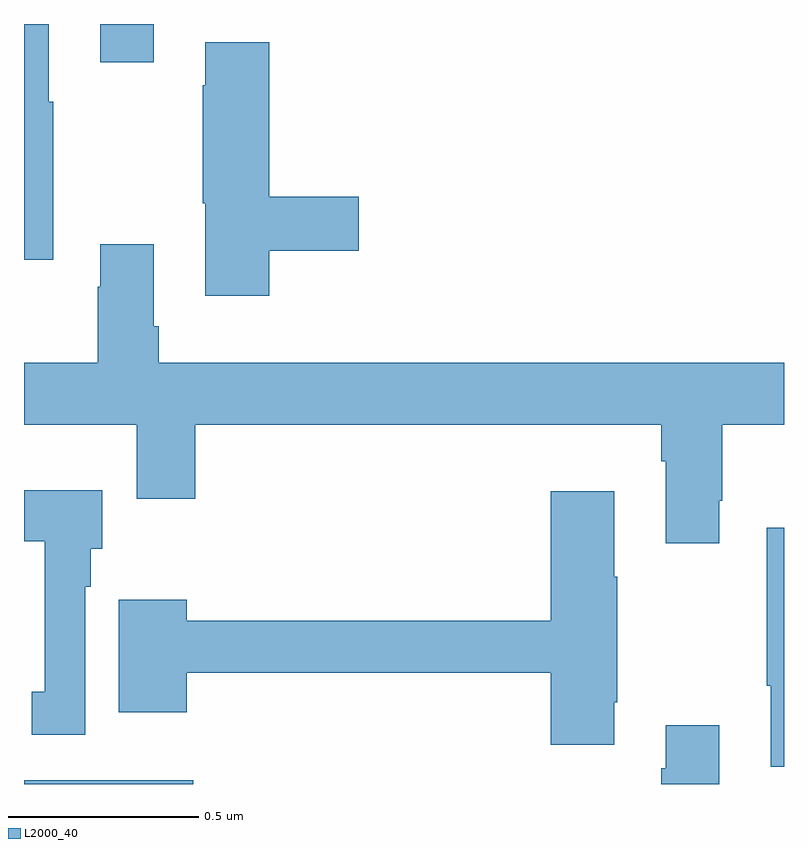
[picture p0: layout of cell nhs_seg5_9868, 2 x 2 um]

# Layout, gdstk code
import gdstk
lib = gdstk.Library(unit=1e-6, precision=1e-09)
def R(c, l, rs):  # rectangles x0, y0, x1, y1
    for r in rs: c.add(gdstk.rectangle(r[:2], r[2:], *l))
def P(c, l, *ps):  # polygons
    for p in ps: c.add(gdstk.Polygon(p, *l))
L2000_40 = (2000, 40)

nhs_seg5_9868 = lib.new_cell('nhs_seg5_9868')
R(nhs_seg5_9868, L2000_40, [(239,871.799,239.446,871.809), (239.201,873.699,239.341,873.799)])
P(nhs_seg5_9868, L2000_40, [(239.077,873.595),(239.065,873.595),(239.065,873.799),(239,873.799),(239,873.179),(239.077,873.179)],
  [(239.645,873.202),(239.881,873.202),(239.881,873.344),(239.645,873.344),(239.645,873.751),(239.477,873.751),(239.477,873.638),(239.47,873.638),(239.47,873.327),(239.477,873.327),(239.477,873.084),(239.645,873.084)],
  [(240.829,872.545),(240.837,872.545),(240.837,872.744),(241,872.744),(241,872.908),(239.354,872.908),(239.354,873.004),(239.341,873.004),(239.341,873.22),(239.201,873.22),(239.201,873.107),(239.194,873.107),(239.194,872.908),(239,872.908),(239,872.744),(239.297,872.744),(239.297,872.55),(239.45,872.55),(239.45,872.744),(240.677,872.744),(240.677,872.648),(240.689,872.648),(240.689,872.433),(240.829,872.433)],
  [(239.161,872.318),(239.176,872.318),(239.176,872.418),(239.206,872.418),(239.206,872.572),(239,872.572),(239,872.438),(239.054,872.438),(239.054,872.042),(239.021,872.042),(239.021,871.929),(239.161,871.929)],
  [(240.553,872.014),(240.561,872.014),(240.561,872.345),(240.553,872.345),(240.553,872.569),(240.386,872.569),(240.386,872.228),(239.428,872.228),(239.428,872.284),(239.249,872.284),(239.249,871.988),(239.428,871.988),(239.428,872.092),(240.386,872.092),(240.386,871.902),(240.553,871.902)],
  [(241,872.473),(240.954,872.473),(240.954,872.057),(240.965,872.057),(240.965,871.845),(241,871.845)],
  [(240.829,871.954),(240.689,871.954),(240.689,871.841),(240.677,871.841),(240.677,871.799),(240.829,871.799)])

lib.write_gds('nhs_seg5_9868.gds')
